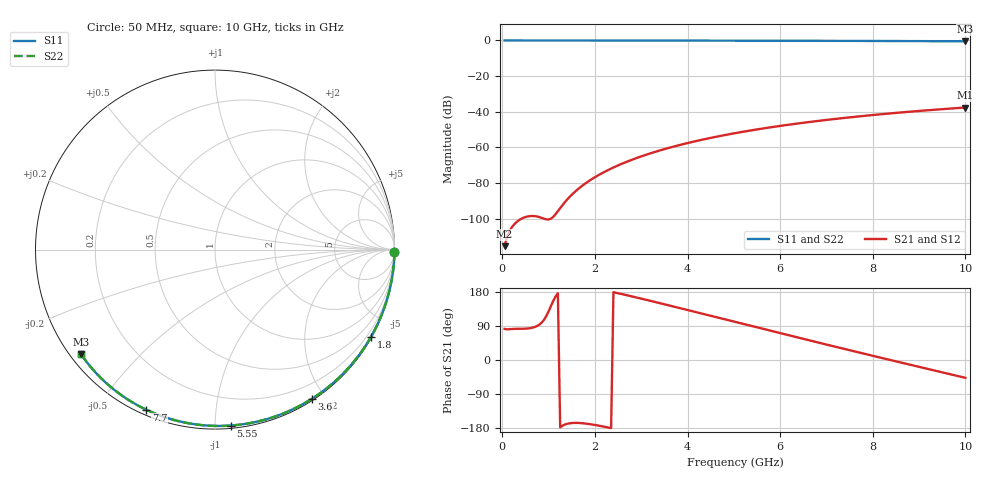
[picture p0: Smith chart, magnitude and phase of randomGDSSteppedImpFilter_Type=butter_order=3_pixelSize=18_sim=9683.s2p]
! freq	dB(S11)	phase(S11)	dB(S12)	phase(S12)
!  dB(S21)	phase(S21)	dB(S22)	phase(S22)
!S-par simulation data
#  GHz  S  DB  R 50
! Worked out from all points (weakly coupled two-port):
!   200 points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, 50 MHz to 10 GHz, reference 50 ohm
!   highest |S21| = -37.58 dB at 10 GHz (marker M1); lowest = -115.3 dB at 50 MHz (marker M2)
!   lowest |S11| = -0.5 dB at 10 GHz (marker M3), VSWR 36.84, Z = 1.52 - j17.2 ohm
!   |S11| at or under -10 dB: nowhere
!   |S22| runs from -0.5 to 0.0 dB; largest |S21 - S12| = 0
!   S11 on the Smith chart (normalised r, x): 50 MHz: open; 1.8 GHz: 0.03, -3.84; 3.6 GHz: 0.02, -1.84; 5.55 GHz: 0.02, -1.09; 7.7 GHz: 0.02, -0.66; 10 GHz: 0.03, -0.34
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0.05  -0.00 -0.8  -115.32 82.1  -115.32 82.1  -0.00 -0.8
0.45  -0.01 -7.4  -99.46 82.4  -99.46 82.4  -0.01 -7.4
0.9  -0.02 -14.7  -99.91 105.9  -99.91 105.9  -0.02 -14.7
1.3  -0.03 -21.2  -92.26 -173.3  -92.26 -173.3  -0.03 -21.2
1.75  -0.04 -28.4  -80.97 -167.1  -80.97 -167.1  -0.04 -28.4
1.8  -0.04 -29.2  -80.03 -167.8  -80.03 -167.8  -0.04 -29.2
1.95  -0.04 -31.5  -77.45 -170.4  -77.45 -170.4  -0.04 -31.5
2.15  -0.04 -34.7  -74.45 -174.8  -74.45 -174.8  -0.04 -34.7
2.35  -0.05 -37.8  -71.81 -179.8  -71.81 -179.8  -0.05 -37.8
2.55  -0.05 -40.9  -69.46 174.9  -69.46 174.9  -0.05 -40.9
2.95  -0.06 -47.1  -65.43 163.5  -65.43 163.5  -0.06 -47.1
3.4  -0.07 -53.9  -61.66 150.1  -61.66 150.1  -0.07 -53.9
3.6  -0.08 -56.9  -60.18 144.1  -60.18 144.1  -0.08 -56.9
4.3  -0.09 -67.2  -55.72 122.7  -55.72 122.7  -0.09 -67.2
5.05  -0.12 -77.9  -51.85 99.7  -51.85 99.7  -0.12 -77.9
5.55  -0.14 -84.9  -49.66 84.5  -49.66 84.5  -0.14 -84.9
6.1  -0.16 -92.3  -47.53 67.8  -47.53 67.8  -0.16 -92.3
6.7  -0.19 -100.3  -45.48 49.7  -45.48 49.7  -0.19 -100.3
7.7  -0.26 -113.2  -42.57 19.9  -42.57 19.9  -0.26 -113.2
8.35  -0.31 -121.5  -40.95 0.8  -40.95 0.8  -0.31 -121.5
9.2  -0.39 -132.1  -39.10 -23.9  -39.10 -23.9  -0.39 -132.1
10  -0.47 -142.1  -37.58 -47.0  -37.58 -47.0  -0.47 -142.1
